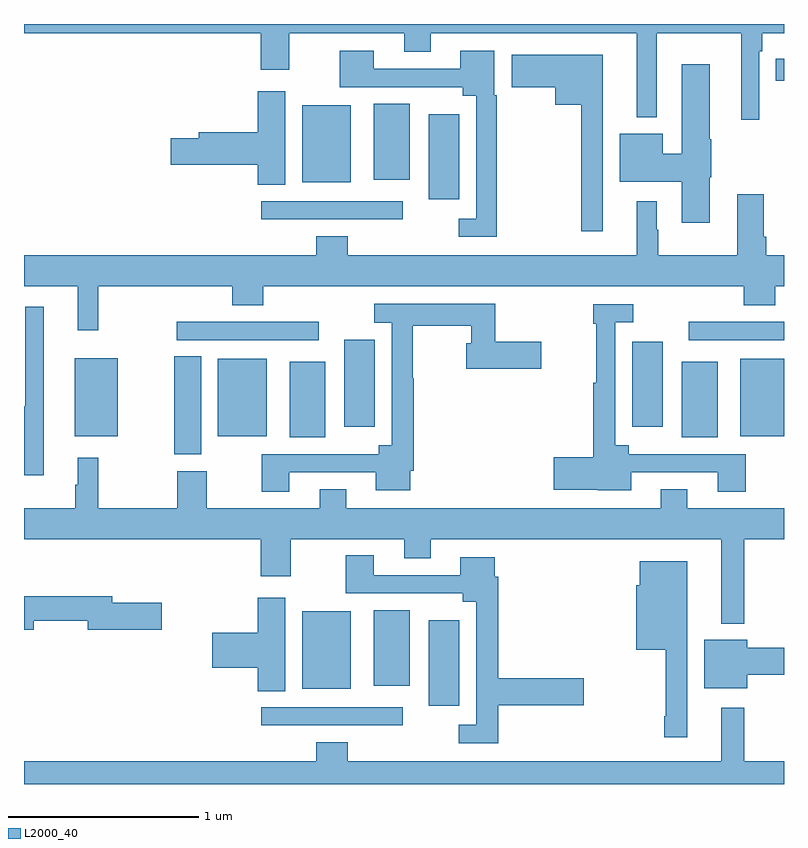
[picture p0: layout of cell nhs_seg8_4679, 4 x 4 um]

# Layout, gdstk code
import gdstk
lib = gdstk.Library(unit=1e-6, precision=1e-09)
def R(c, l, rs):  # rectangles x0, y0, x1, y1
    for r in rs: c.add(gdstk.rectangle(r[:2], r[2:], *l))
def P(c, l, *ps):  # polygons
    for p in ps: c.add(gdstk.Polygon(p, *l))
L2000_40 = (2000, 40)

nhs_seg8_4679 = lib.new_cell('nhs_seg8_4679')
R(nhs_seg8_4679, L2000_40, [(396.249,1094.208,396.994,1094.304), (397.13,1094.313,397.291,1094.761), (396.464,1094.402,396.721,1094.809), (396.842,1094.417,397.03,1094.815), (395.791,1095.635,395.932,1096.151), (396.398,1095.725,396.586,1096.123), (398.462,1095.725,398.65,1096.123), (395.267,1095.731,395.494,1096.141), (396.02,1095.731,396.277,1096.138), (398.771,1095.731,399,1096.138), (396.686,1095.78,396.847,1096.237), (398.201,1095.78,398.362,1096.228), (395.805,1096.236,396.55,1096.332), (398.499,1096.236,399,1096.332), (396.249,1096.872,396.994,1096.968), (397.13,1096.977,397.291,1097.425), (396.464,1097.066,396.721,1097.473), (396.842,1097.081,397.03,1097.479), (398.956,1097.602,399,1097.718)])
P(nhs_seg8_4679, L2000_40, [(395,1097.852),(396.245,1097.852),(396.245,1097.658),(396.397,1097.658),(396.397,1097.852),(397.001,1097.852),(397.001,1097.753),(397.141,1097.753),(397.141,1097.852),(398.225,1097.852),(398.225,1097.408),(398.329,1097.408),(398.329,1097.852),(398.774,1097.852),(398.774,1097.397),(398.871,1097.397),(398.871,1097.756),(398.885,1097.756),(398.885,1097.852),(399,1097.852),(399,1097.9),(395,1097.9)],
  [(397.489,1097.526),(397.476,1097.526),(397.476,1097.758),(397.295,1097.758),(397.295,1097.664),(396.841,1097.664),(396.841,1097.758),(396.662,1097.758),(396.662,1097.568),(397.31,1097.568),(397.31,1097.522),(397.38,1097.522),(397.38,1096.875),(397.287,1096.875),(397.287,1096.779),(397.489,1096.779)],
  [(398.047,1097.737),(397.566,1097.737),(397.566,1097.567),(397.796,1097.567),(397.796,1097.474),(397.933,1097.474),(397.933,1096.809),(398.047,1096.809)],
  [(398.608,1097.093),(398.616,1097.093),(398.616,1097.293),(398.608,1097.293),(398.608,1097.689),(398.462,1097.689),(398.462,1097.216),(398.362,1097.216),(398.362,1097.323),(398.135,1097.323),(398.135,1097.069),(398.462,1097.069),(398.462,1096.854),(398.608,1096.854)],
  [(396.376,1097.545),(396.23,1097.545),(396.23,1097.33),(395.921,1097.33),(395.921,1097.3),(395.772,1097.3),(395.772,1097.158),(396.23,1097.158),(396.23,1097.053),(396.376,1097.053)],
  [(395.392,1096.52),(396.095,1096.52),(396.095,1096.421),(396.26,1096.421),(396.26,1096.52),(398.789,1096.52),(398.789,1096.421),(398.954,1096.421),(398.954,1096.52),(399,1096.52),(399,1096.684),(398.906,1096.684),(398.906,1096.78),(398.893,1096.78),(398.893,1097.005),(398.753,1097.005),(398.753,1096.684),(398.339,1096.684),(398.339,1096.817),(398.329,1096.817),(398.329,1096.966),(398.225,1096.966),(398.225,1096.684),(396.704,1096.684),(396.704,1096.783),(396.539,1096.783),(396.539,1096.684),(395,1096.684),(395,1096.52),(395.282,1096.52),(395.282,1096.287),(395.392,1096.287)],
  [(396.397,1095.54),(396.851,1095.54),(396.851,1095.446),(397.033,1095.446),(397.033,1095.55),(397.052,1095.55),(397.052,1096.035),(397.045,1096.035),(397.045,1096.312),(397.353,1096.312),(397.353,1096.219),(397.327,1096.219),(397.327,1096.085),(397.723,1096.085),(397.723,1096.227),(397.481,1096.227),(397.481,1096.428),(396.843,1096.428),(396.843,1096.328),(396.936,1096.328),(396.936,1095.682),(396.866,1095.682),(396.866,1095.636),(396.25,1095.636),(396.25,1095.438),(396.397,1095.438)],
  [(398.799,1095.636),(398.182,1095.636),(398.182,1095.682),(398.112,1095.682),(398.112,1096.329),(398.206,1096.329),(398.206,1096.425),(397.996,1096.425),(397.996,1096.322),(398.011,1096.322),(398.011,1096.013),(397.996,1096.013),(397.996,1095.62),(397.788,1095.62),(397.788,1095.449),(398.019,1095.449),(398.019,1095.446),(398.197,1095.446),(398.197,1095.54),(398.651,1095.54),(398.651,1095.438),(398.799,1095.438)],
  [(395.104,1096.411),(395.007,1096.411),(395.007,1095.889),(395,1095.889),(395,1095.524),(395.104,1095.524)],
  [(398.791,1095.188),(399,1095.188),(399,1095.352),(398.491,1095.352),(398.491,1095.451),(398.351,1095.451),(398.351,1095.352),(396.697,1095.352),(396.697,1095.451),(396.557,1095.451),(396.557,1095.352),(395.961,1095.352),(395.961,1095.547),(395.806,1095.547),(395.806,1095.352),(395.392,1095.352),(395.392,1095.616),(395.282,1095.616),(395.282,1095.476),(395.271,1095.476),(395.271,1095.352),(395,1095.352),(395,1095.188),(396.245,1095.188),(396.245,1094.994),(396.405,1094.994),(396.405,1095.188),(397.001,1095.188),(397.001,1095.089),(397.141,1095.089),(397.141,1095.188),(398.669,1095.188),(398.669,1094.744),(398.791,1094.744)],
  [(397.496,1094.314),(397.945,1094.314),(397.945,1094.456),(397.496,1094.456),(397.496,1094.99),(397.477,1094.99),(397.477,1095.094),(397.295,1095.094),(397.295,1095),(396.841,1095),(396.841,1095.103),(396.694,1095.103),(396.694,1094.904),(397.31,1094.904),(397.31,1094.858),(397.38,1094.858),(397.38,1094.211),(397.287,1094.211),(397.287,1094.115),(397.496,1094.115)],
  [(398.491,1095.073),(398.24,1095.073),(398.24,1094.946),(398.222,1094.946),(398.222,1094.606),(398.377,1094.606),(398.377,1094.257),(398.37,1094.257),(398.37,1094.145),(398.491,1094.145)],
  [(395.05,1094.758),(395.336,1094.758),(395.336,1094.711),(395.725,1094.711),(395.725,1094.853),(395.464,1094.853),(395.464,1094.887),(395,1094.887),(395,1094.711),(395.05,1094.711)],
  [(396.376,1094.881),(396.23,1094.881),(396.23,1094.696),(395.991,1094.696),(395.991,1094.513),(396.23,1094.513),(396.23,1094.389),(396.376,1094.389)],
  [(398.806,1094.476),(399,1094.476),(399,1094.618),(398.806,1094.618),(398.806,1094.659),(398.579,1094.659),(398.579,1094.405),(398.806,1094.405)],
  [(399,1094.02),(398.791,1094.02),(398.791,1094.302),(398.669,1094.302),(398.669,1094.02),(396.704,1094.02),(396.704,1094.119),(396.539,1094.119),(396.539,1094.02),(395,1094.02),(395,1093.9),(399,1093.9)])

lib.write_gds('nhs_seg8_4679.gds')
